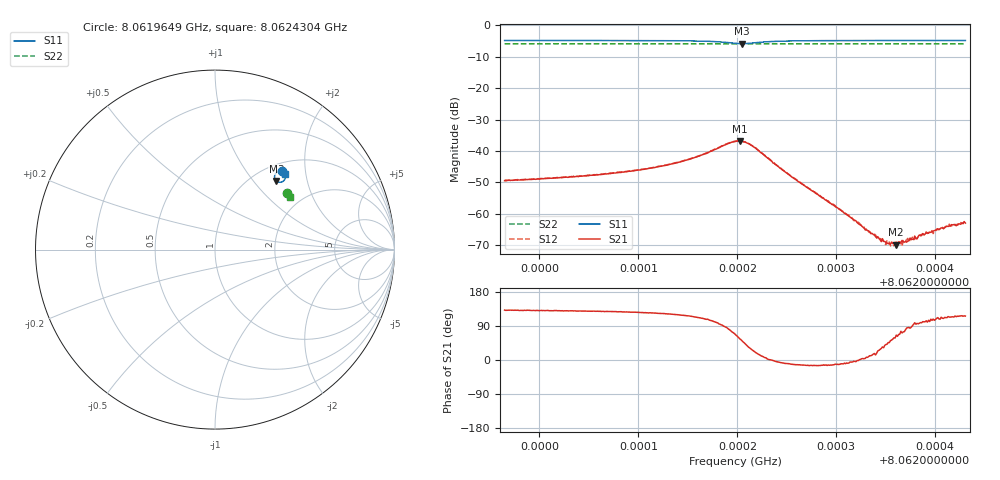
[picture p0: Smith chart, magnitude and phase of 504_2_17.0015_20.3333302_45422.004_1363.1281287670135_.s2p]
#  HZ  S  RI  R  50.00
! Rohde & Schwarz Vector Network Analyzer
! Rohde-Schwarz,ZNB20-2Port,1311601062101988,3.16
! Created: UTC 3/20/2024, 11:14:43 PM
! freq[Hz]  re:S11  im:S11  re:S21  im:S21  re:S12  im:S12  re:S22  im:S22
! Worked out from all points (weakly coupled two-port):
!   401 points, 8.0619649 GHz to 8.0624304 GHz, reference 50 ohm
!   highest |S21| = -36.80 dB at 8.0622023 GHz (marker M1); lowest = -69.8 dB at 8.0623606 GHz (marker M2)
!   lowest |S11| = -5.8 dB at 8.0622046 GHz (marker M3), VSWR 3.11, Z = 63.7 + j66.1 ohm
!   |S11| at or under -10 dB: nowhere
!   |S22| runs from -5.9 to -5.8 dB; largest |S21 - S12| = 0.001
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8.06196487e9  0.3746 0.4377  -0.00224 0.00251  -0.0021 0.00271  0.4025 0.3135
8.06204285e9  0.3808 0.4317  -0.00253 0.00308  -0.00232 0.00326  0.4054 0.3095
8.06212083e9  0.3885 0.4211  -0.00308 0.00474  -0.00286 0.00496  0.4082 0.3054
8.06215691e9  0.3922 0.4085  -0.00319 0.00719  -0.00277 0.00745  0.4094 0.303
8.06219765e9  0.3596 0.3752  0.00523 0.0132  0.00617 0.0128  0.4088 0.2999
8.0622023e9  0.3477 0.3787  0.00801 0.012  0.00868 0.0117  0.4086 0.3
8.06220463e9  0.3425 0.3823  0.00893 0.011  0.00973 0.0106  0.4085 0.3002
8.06221627e9  0.3321 0.4091  0.0107 0.00479  0.0111 0.0041  0.4089 0.3008
8.06225352e9  0.361 0.4358  0.00396 -0.000758  0.00396 -0.000997  0.4117 0.2999
8.06227563e9  0.3701 0.4348  0.00224 -0.000588  0.00224 -0.000719  0.4127 0.2987
8.06231287e9  0.3785 0.4318  0.0009 -0.000119  0.000936 -0.000161  0.4143 0.2966
8.06234779e9  0.3831 0.4289  0.000307 0.000196  0.000304 0.000196  0.4156 0.295
8.06235361e9  0.3837 0.4286  0.000233 0.000242  0.000257 0.00024  0.4158 0.2944
8.0623571e9  0.3842 0.4284  0.000191 0.000275  0.000214 0.000226  0.416 0.2944
8.06236059e9  0.3845 0.4281  0.000134 0.000295  0.000178 0.000309  0.416 0.2942
8.06236409e9  0.385 0.4279  0.000134 0.000331  0.000135 0.00031  0.4162 0.294
8.06236991e9  0.3855 0.4274  6.62e-05 0.000356  8.03e-05 0.000363  0.4165 0.2937
8.06238038e9  0.3865 0.4267  -3.21e-05 0.000409  -1.77e-05 0.000402  0.4169 0.2931
8.0623862e9  0.387 0.4263  -6.46e-05 0.000446  -7.44e-05 0.000464  0.417 0.2926
8.06240017e9  0.3882 0.4255  -0.000159 0.00052  -0.000136 0.000505  0.4175 0.2921
8.06241181e9  0.3892 0.4247  -0.000236 0.00059  -0.000209 0.000606  0.4179 0.2915
8.06243043e9  0.3906 0.4236  -0.000312 0.00064  -0.000291 0.000671  0.4186 0.2904
